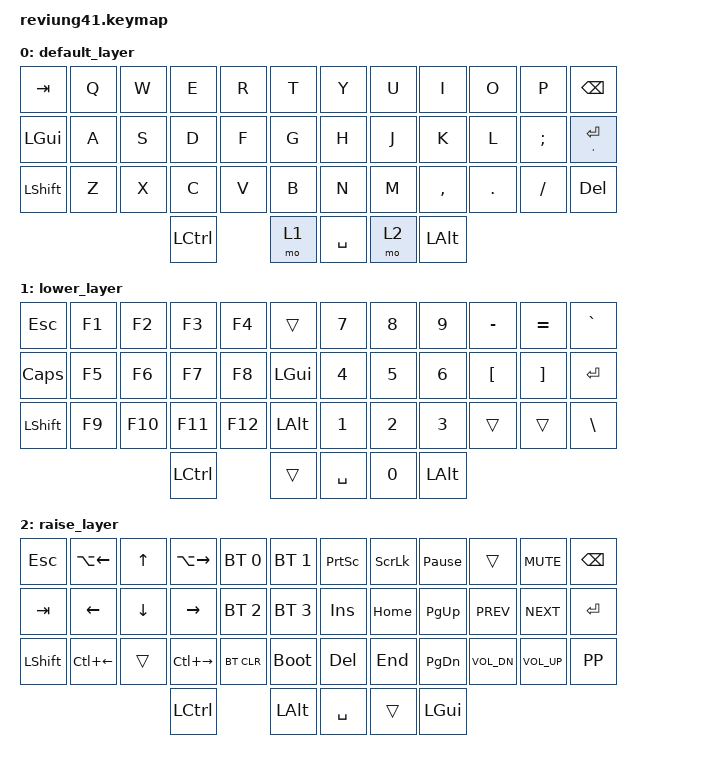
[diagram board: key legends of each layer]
/*
 * Copyright (c) 2020 The ZMK Contributors
 *
 * SPDX-License-Identifier: MIT
 */

#include <behaviors.dtsi>
#include <dt-bindings/zmk/keys.h>
#include <dt-bindings/zmk/bt.h>
#include <dt-bindings/zmk/rgb.h>

/ {
        keymap {
                compatible = "zmk,keymap";

                default_layer {
// -------------------------------------------------------------------------------------
// |  TAB |  Q  |  W  |  E  |  R  |  T  |   |  Y  |  U   |  I  |  O  |  P  |   BSPC    |
// | GUI |  A  |  S  |  D  |  F  |  G  |   |  H  |  J   |  K  |  L  |  ;  |    ' (RET)     |
// | SHFT |  Z  |  X  |  C  |  V  |  B  |   |  N  |  M   |  ,  |  .  |  /  | DEL |
//                         | ALT | LWR | SPC | RSE  | CTRL |
                        bindings = <
   &kp TAB   &kp Q &kp W &kp E &kp R &kp T   &kp Y &kp U  &kp I     &kp O   &kp P    &kp BSPC
   &kp LGUI &kp A &kp S &kp D &kp F &kp G   &kp H &kp J  &kp K     &kp L   &kp SEMI &mt SQT RET
   &kp LSHFT &kp Z &kp X &kp C &kp V &kp B   &kp N &kp M  &kp COMMA &kp DOT &kp FSLH &kp DEL
                        &kp LCTRL  &mo 1 &kp SPACE &mo 2  &kp LALT
                        >;
                };

                lower_layer {
// ------------------------------------------------------------------------------------
// |  ESC   | F1 | F2  | F3  | F4  |       |     |  7 |  8  |  9  |   -   |    =    |    `    |     
// |  CAPS  | F5 | F6  | F7  | F8  |  LGUI |     |  4 |  5  |  6  |   {   |    }    |   RET   |    
// |  SHFT  | F9 | F10 | F11 | F12 |  LALT |     |  1 |  2  |  3  |       |         |     \   |
//                     |    LCTRL  |       | SPC |  0 |    LALT   |
                        bindings = <
   &kp ESC &kp F1  &kp F2 &kp F3 &kp F4 &trans &kp N7 &kp N8 &kp N9 &kp MINUS  &kp EQUAL  &kp GRAVE
   &kp CLCK &kp F5 &kp F6 &kp F7 &kp F8 &kp LGUI &kp N4  &kp N5 &kp N6 &kp LBKT &kp RBKT &kp RET
   &kp LSHFT &kp F9 &kp F10 &kp F11 &kp F12 &kp LALT &kp N1 &kp N2  &kp N3 &trans &trans &kp BSLH
                &kp LCTRL      &trans       &kp SPACE        &kp N0       &kp LALT
                        >;
                };

                raise_layer {
// ----------------------------------------------------------------------------
// |  ESC  |  ALT+L  |  UP  |  ALT+R  |  BT0    |  BT1     |     |  PrtSc  |  ScLK  | Pause |          |  Mute    |  BkSp      |
// |  TAB  |  LFT    | DOWN |  RIGHT  |  BT2    |  BT3     |     |  Ins    |  Home  | PgUp  |  PrevTrk |  NextTrk |  RET       |
// |  SHFT |  CTRL+L |      |  CTRL+R |  BT CLR |  BOOTLDR |     |  Del    |  End   | PgDn  |  Vol-    |  Vol+    |  PlayPause |
//                                     |  LCTRL   |  LALT  | SPC |    |  LGUI   |
                        bindings = <
   &kp ESC &kp LA(LEFT)  &kp UP     &kp LA(RIGHT) &bt BT_SEL 0 &bt BT_SEL 1  &kp PSCRN &kp SLCK &kp PAUSE_BREAK &trans  &kp K_MUTE  &kp BSPC
   &kp TAB &kp LEFT &kp DOWN &kp RIGHT &bt BT_SEL 2 &bt BT_SEL 3       &kp INS  &kp HOME &kp PG_UP &kp K_PREV &kp K_NEXT &kp RET
   &kp LSHFT &kp LC(LEFT)   &trans    &kp LC(RIGHT) &bt BT_CLR &bootloader   &kp DEL  &kp END  &kp PG_DN &kp K_VOL_DN &kp K_VOL_UP &kp K_PP
                                &kp LCTRL      &kp LALT      &kp SPACE        &trans      &kp LGUI
                        >;
                };
        };
};
